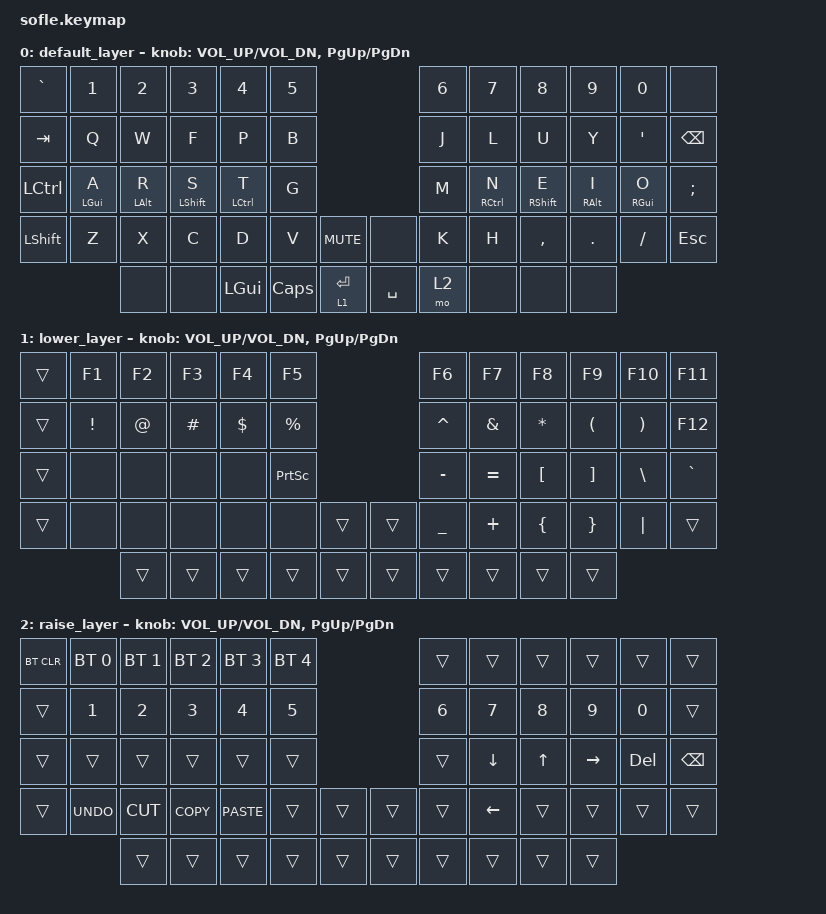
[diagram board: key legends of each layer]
/*
 * Copyright (c) 2020 The ZMK Contributors
 *
 * SPDX-License-Identifier: MIT
 */

#include <behaviors.dtsi>
#include <dt-bindings/zmk/bt.h>
#include <dt-bindings/zmk/keys.h>

/ {
    combos {
        compatible = "zmk,combos";

        WF_TAB {
            bindings = <&kp TAB>;
            key-positions = <14 15>;
        };

        UY_DEL {
            bindings = <&kp DEL>;
            key-positions = <20 21>;
        };
    };

    behaviors {
        homerow_mods: homerow_mods {
            compatible = "zmk,behavior-hold-tap";
            label = "HOMEROW_MODS";
            bindings = <&kp>, <&kp>;

            #binding-cells = <2>;
            tapping-term-ms = <350>;
            flavor = "tap-preferred";
            quick-tap-ms = <75>;
        };
    };

    keymap {
        compatible = "zmk,keymap";

        default_layer {
            // ------------------------------------------------------------------------------------------------------------
            // |  `    |  1  |  2  |  3   |  4   |  5   |                   |  6   |  7    |  8    |  9   |   0   |       |
            // |  ESC  |  Q  |  W  |  E   |  R   |  T   |                   |  Y   |  U    |  I    |  O   |   P   | BKSPC |
            // |  TAB  |  A  |  S  |  D   |  F   |  G   |                   |  H   |  J    |  K    |  L   |   ;   |   '   |
            // | SHIFT |  Z  |  X  |  C   |  V   |  B   |  MUTE  |  |       |  N   |  M    |  ,    |  .   |   /   | SHIFT |
            //               | GUI | ALT  | CTRL | LOWER|  ENTER |  | SPACE | RAISE| CTRL  | ALT   | GUI  |

            bindings = <
&kp GRAVE         &kp N1                    &kp N2                    &kp N3                      &kp N4                        &kp N5                               &kp N6  &kp N7                         &kp N8                 &kp N9                &kp N0                &none
&kp TAB           &kp Q                     &kp W                     &kp F                       &kp P                         &kp B                                &kp J   &kp L                          &kp U                  &kp Y                 &kp SQT               &kp BSPC
&kp LEFT_CONTROL  &homerow_mods LEFT_GUI A  &homerow_mods LEFT_ALT R  &homerow_mods LEFT_SHIFT S  &homerow_mods LEFT_CONTROL T  &kp G                                &kp M   &homerow_mods RIGHT_CONTROL N  &homerow_mods RSHFT E  &homerow_mods RALT I  &homerow_mods RGUI O  &kp SEMICOLON
&kp LSHFT         &kp Z                     &kp X                     &kp C                       &kp D                         &kp V     &kp C_MUTE      &none      &kp K   &kp H                          &kp COMMA              &kp DOT               &kp FSLH              &kp ESCAPE
                                            &none                     &none                       &kp LEFT_GUI                  &kp CAPS  &lt 1 RETURN    &kp SPACE  &mo 2   &none                          &none                  &none
            >;

            sensor-bindings = <&inc_dec_kp C_VOL_UP C_VOL_DN &inc_dec_kp PG_UP PG_DN>;
        };

        lower_layer {
            // TODO: Some binds are waiting for shifted keycode support.
            // ------------------------------------------------------------------------------------------------------------
            // |       |  F1 |  F2 |  F3  |  F4  |  F5  |                   |  F6  |  F7   |  F8   |  F9  |  F10  |  F11  |
            // | `     |   1 |   2 |   3  |   4  |   5  |                   |   6  |   7   |   8   |   9  |    0  |  F12  |
            // |       |  !  |  @  |  #   |  $   |  %   |                   |  ^   |  &    |  *    |  (   |   )   |   |   |
            // |       |  =  |  -  |  +   |  {   |  }   |        |  |       |  [   |  ]    |  ;    |  :   |   \   |       |
            //               |     |      |      |      |        |  |       |      |       |       |      |

            bindings = <
&trans  &kp F1           &kp F2  &kp F3    &kp F4      &kp F5                             &kp F6          &kp F7         &kp F8            &kp F9             &kp F10                &kp F11
&trans  &kp EXCLAMATION  &kp AT  &kp HASH  &kp DOLLAR  &kp PERCENT                        &kp CARET       &kp AMPERSAND  &kp ASTERISK      &kp LPAR           &kp RIGHT_PARENTHESIS  &kp F12
&trans  &none            &none   &none     &none       &kp PRINTSCREEN                    &kp MINUS       &kp EQUAL      &kp LEFT_BRACKET  &kp RIGHT_BRACKET  &kp BACKSLASH          &kp GRAVE
&trans  &none            &none   &none     &none       &none            &trans    &trans  &kp UNDERSCORE  &kp PLUS       &kp LEFT_BRACE    &kp RIGHT_BRACE    &kp PIPE               &trans
                         &trans  &trans    &trans      &trans           &trans    &trans  &trans          &trans         &trans            &trans
            >;

            sensor-bindings = <&inc_dec_kp C_VOL_UP C_VOL_DN &inc_dec_kp PG_UP PG_DN>;
        };

        raise_layer {
            // ------------------------------------------------------------------------------------------------------------
            // |BTCLR| BT1  | BT2  |  BT3  |  BT4  |  BT5 |                |      |      |       |      |       |       |
            // |     | INS  | PSCR | GUI   |       |      |                | PGUP |      |       |      |       |       |
            // |     | ALT  | CTRL | SHIFT |       | CAPS |                |  <-  |   v  |   ^   |  ->  |  DEL  | BKSPC |
            // |     | UNDO | CUT  | COPY  | PASTE |      |      |  |      |      |      |       |      |       |       |
            //              |      |       |       |      |      |  |      |      |      |       |      |

            bindings = <
&bt BT_CLR  &bt BT_SEL 0  &bt BT_SEL 1  &bt BT_SEL 2  &bt BT_SEL 3  &bt BT_SEL 4                    &trans        &trans    &trans  &trans     &trans   &trans
&trans      &kp NUMBER_1  &kp NUMBER_2  &kp NUMBER_3  &kp NUMBER_4  &kp N5                          &kp NUMBER_6  &kp N7    &kp N8  &kp N9     &kp N0   &trans
&trans      &trans        &trans        &trans        &trans        &trans                          &trans        &kp DOWN  &kp UP  &kp RIGHT  &kp DEL  &kp BSPC
&trans      &kp K_UNDO    &kp K_CUT     &kp K_COPY    &kp K_PASTE   &trans        &trans    &trans  &trans        &kp LEFT  &trans  &trans     &trans   &trans
                          &trans        &trans        &trans        &trans        &trans    &trans  &trans        &trans    &trans  &trans
            >;

            sensor-bindings = <&inc_dec_kp C_VOL_UP C_VOL_DN &inc_dec_kp PG_UP PG_DN>;
        };
    };
};
